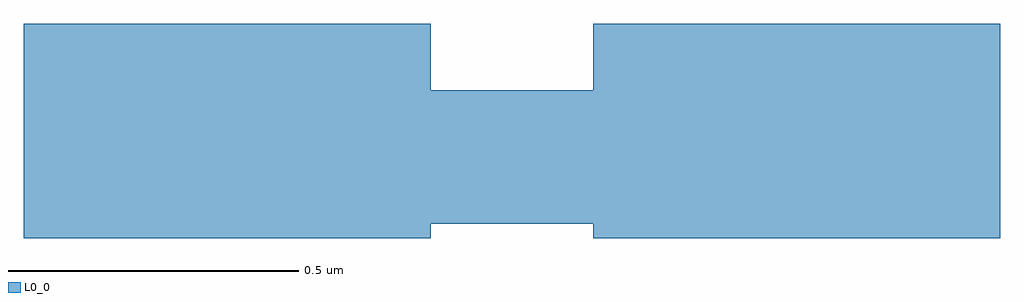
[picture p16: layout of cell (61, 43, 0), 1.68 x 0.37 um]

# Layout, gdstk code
import gdstk
lib = gdstk.Library(unit=1e-6, precision=1e-09)
def P(c, l, *ps):  # polygons
    for p in ps: c.add(gdstk.Polygon(p, *l))
L0_0 = (0, 0)

c__61__43__0_ = lib.new_cell('(61, 43, 0)')
P(c__61__43__0_, L0_0, [(903.21,963.595),(903.87,963.595),(903.87,963.365),(903.21,963.365),(903.21,963.595)],
  [(902.7,963.34),(902.7,963.71),(903.4,963.71),(903.4,963.34),(902.7,963.34)],
  [(903.68,963.71),(904.38,963.71),(904.38,963.34),(903.68,963.34),(903.68,963.71)],
  [(903.02,963.62),(903.4,963.62),(903.4,963.34),(903.02,963.34),(903.02,963.62)],
  [(902.7,963.34),(902.7,963.71),(903.4,963.71),(903.4,963.34),(902.7,963.34)],
  [(903.02,963.62),(903.4,963.62),(903.4,963.34),(903.02,963.34),(903.02,963.62)])

lib.write_gds('_61__43__0_.gds')
